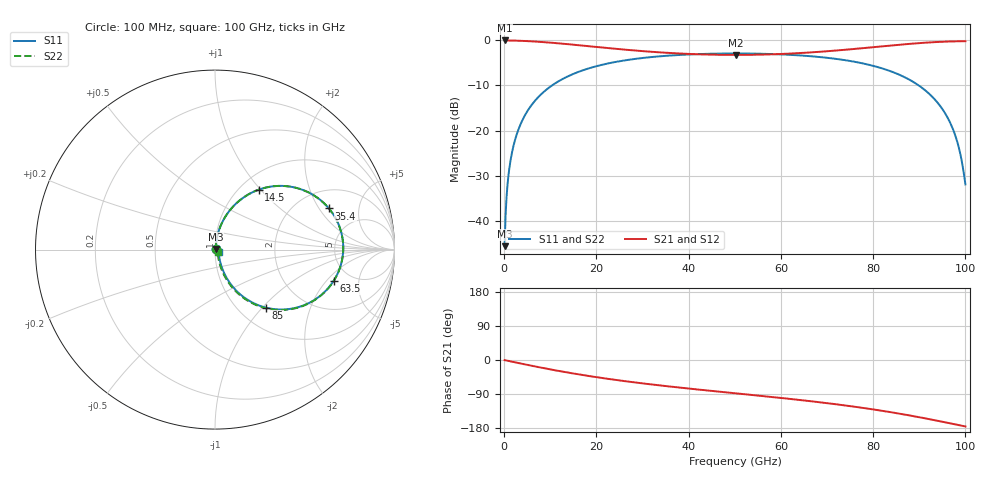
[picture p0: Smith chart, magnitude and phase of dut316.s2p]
! Touchstone file exported from HFSS 2026.1.0
!  File:  C:/ffzhzh/LocalFiles/Ansys_Project_Files/temp_train_RDL_316_1783502640_55944.aedt
!  Generated:  05:25:31 PM Jul  8, 2026
!  Design:  RDL
!  Project:  temp_train_RDL_316_1783502640_55944
! Variables:
!  h_bsmrdl = 2um
!  h_ox = 20um
!  h_rdl = 5um
!  h_sub = 80um
!  h_tmrdl = 3.9um
!  h_tsv = 80um
!  h_via = 3um
!  l_bsmrdl = 300um
!  l_sub = 977.47um
!  l_tmrdl = 577.47um
!  m_sub = 200um
!  pitch = 59.05um
!  r_tsv = 6um
!  s_tmrdl = 10um
!  w_bsmrdl = 18um
!  w_sub = 500um
!  w_tmrdl = 13.63um
!  x_tsv_center1 = 584.285um
!  x_tsv_center2 = 902.285um
!  x_tsv_center3 = 1493.385um
!  x_tsv_center4 = 1811.385um
!  x_tsv_center5 = 2402.485um
!  x_tsv_center6 = 2720.485um
# GHz S MA R 50.000000
! Terminal data exported
! Port[1] = TM_RDL1_1_T1
! Port[2] = TM_RDL1_1_T2
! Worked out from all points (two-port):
!   1000 points, 100 MHz to 100 GHz, reference 50 ohm
!   highest |S21| = -0.03 dB at 100 MHz (marker M1); lowest = -3.2 dB at 50.2 GHz (marker M2)
!   |S21| within 3 dB of the highest: start of sweep to 40.36 GHz; 59.99 GHz to end of sweep
!   lowest |S11| = -45.6 dB at 100 MHz (marker M3), VSWR 1.01, Z = 50.4 + j0.349 ohm
!   |S11| at or under -10 dB: start of sweep to 10.38 GHz; 89.88 GHz to end of sweep
!   |S22| runs from -45.6 to -2.9 dB; largest |S21 - S12| = 1.8e-14
!   S11 on the Smith chart (normalised r, x): 100 MHz: 1.01, +0.01; 14.5 GHz: 1.21, +0.98; 35.4 GHz: 2.93, +2.47; 63.5 GHz: 3.66, -2.40; 85 GHz: 1.32, -1.05; 100 GHz: 1.04, -0.03
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0.1  0.005236 41.4  0.9961 -0.3  0.9961 -0.3  0.005236 41.4
! Gamma 0 0 0 0
! Port Impedance 50 0 50 0
0.8  0.02744 78.5  0.9952 -2.1  0.9952 -2.1  0.02744 78.5
1.3  0.04389 80.5  0.9944 -3.4  0.9944 -3.4  0.04389 80.5
2.3  0.07676 80.2  0.9919 -6.0  0.9919 -6.0  0.07676 80.2
3.6  0.1189 77.9  0.9871 -9.3  0.9871 -9.3  0.1189 77.9
5.5  0.1783 73.7  0.9769 -14.1  0.9769 -14.1  0.1783 73.6
7.9  0.249 68.1  0.9598 -19.9  0.9598 -19.9  0.249 68.1
14.5  0.4136 53.9  0.8991 -34.6  0.8991 -34.6  0.4136 53.9
16.8  0.4603 49.3  0.876 -39.2  0.876 -39.2  0.4603 49.3
33.4  0.6627 22.5  0.7371 -66.5  0.7371 -66.5  0.6627 22.5
35.4  0.675 19.9  0.7262 -69.3  0.7262 -69.3  0.675 19.8
50.1  0.7147 1.7  0.6887 -87.8  0.6887 -87.8  0.7148 1.6
50.2  0.7147 1.5  0.6887 -88.0  0.6887 -88.0  0.7148 1.4
63.5  0.6833 -14.8  0.7191 -104.7  0.7191 -104.7  0.6833 -15.0
66.7  0.6648 -19.1  0.7355 -109.1  0.7355 -109.1  0.6648 -19.3
83.4  0.4617 -45.7  0.8711 -136.9  0.8711 -136.9  0.4617 -46.2
85  0.4298 -48.8  0.8864 -140.1  0.8864 -140.1  0.4297 -49.3
91.2  0.2815 -60.9  0.9404 -153.8  0.9404 -153.8  0.2812 -61.9
95.5  0.1584 -68.1  0.9663 -164.1  0.9663 -164.1  0.1579 -70.0
98.2  0.07617 -67.3  0.975 -170.9  0.975 -170.9  0.07502 -71.4
99  0.05212 -62.4  0.9763 -172.9  0.9763 -172.9  0.05039 -68.4
100  0.02534 -38.0  0.977 -175.4  0.977 -175.4  0.02144 -48.3
